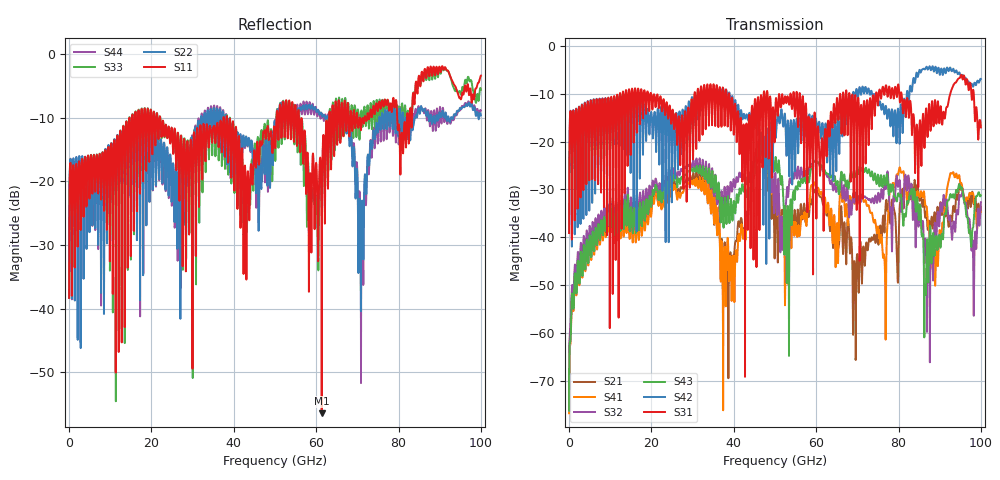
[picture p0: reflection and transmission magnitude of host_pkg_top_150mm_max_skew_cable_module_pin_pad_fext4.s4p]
# Hz S RI R 50
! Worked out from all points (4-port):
!   10000 points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, 10 MHz to 100 GHz, reference 50 ohm
!   strongest paths, dB at 10 MHz, 25.01 GHz, 50.01 GHz, 75.01 GHz, 100 GHz:
!     S31: -39.1, -14.0, -16.8, -12.4, -17.0
!     S42: -39.1, -23.6, -16.0, -11.7, -6.9
!     S43: -76.2, -26.7, -24.9, -26.9, -31.2
!     S32: -75.0, -25.3, -27.7, -31.1, -32.6
!     S41: -76.7, -29.0, -31.0, -37.7, -34.6
!     S21: -75.8, -28.2, -36.7, -40.4, -33.7
!   lowest |S11| = -56.4 dB at 61.35 GHz (marker M1), VSWR 1.00, Z = 50.1 - j0.139 ohm
!   |S11| at or under -10 dB: start of sweep to 14.63 GHz; 22.12 GHz to 37.49 GHz (15.37 GHz wide, 51.6 % of centre); 38.35 GHz to 50.36 GHz (12.01 GHz wide, 27.1 % of centre)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
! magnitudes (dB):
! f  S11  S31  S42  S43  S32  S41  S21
! 10 MHz  -38.3  -39.1  -39.1  -76.2  -75.0  -76.7  -75.8
! 9.65 GHz  -15.1  -11.8  -11.9  -37.6  -35.1  -38.7  -37.2
! 38.43 GHz  -11.2  -14.9  -11.9  -33.2  -29.5  -40.8  -45.4
! 61.35 GHz  -56.4  -19.6  -17.2  -25.1  -25.6  -30.6  -31.9
! 71.14 GHz  -10.2  -16.7  -8.8  -25.9  -31.1  -31.5  -49.3
! 86.68 GHz  -3.6  -13.1  -4.5  -50.5  -41.0  -33.6  -35.0
! 100 GHz  -3.4  -17.0  -6.9  -31.2  -32.6  -34.6  -33.7
